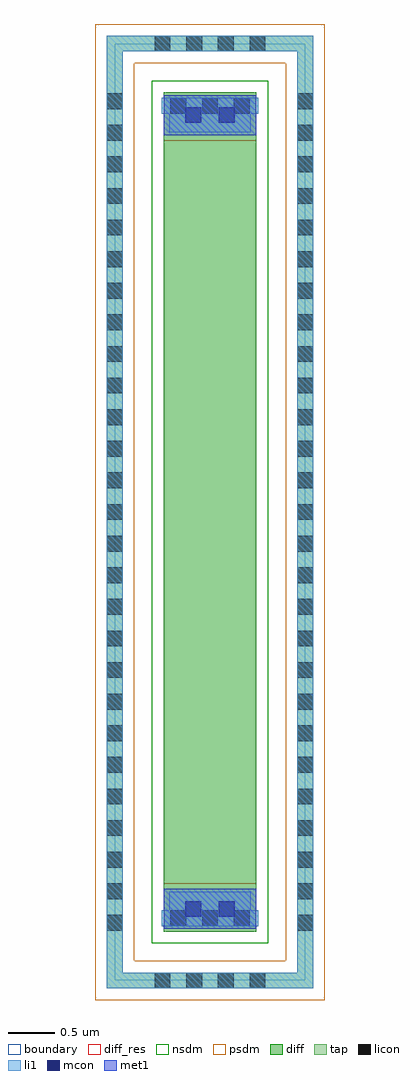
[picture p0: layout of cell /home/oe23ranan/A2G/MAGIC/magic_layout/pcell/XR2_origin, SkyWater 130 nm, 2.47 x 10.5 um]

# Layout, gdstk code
import gdstk
lib = gdstk.Library(unit=1e-6, precision=1e-09)
def R(c, l, rs):  # rectangles x0, y0, x1, y1
    for r in rs: c.add(gdstk.rectangle(r[:2], r[2:], *l))
def A(c, l, x, y, w, h, nx, ny, dx, dy):  # array of equal rectangles
    R(c, l, [(x+i*dx, y+j*dy, x+i*dx+w, y+j*dy+h) for i in range(nx) for j in range(ny)])
diff_res = (65, 13)
diff = (65, 20)
tap = (65, 44)
licon = (66, 44)
li1 = (67, 20)
mcon = (67, 44)
met1 = (68, 20)
nsdm = (93, 44)
psdm = (94, 20)
boundary = (235, 4)

c__home_oe23ranan_a2g_magi = lib.new_cell('/home/oe23ranan/A2G/MAGIC/magic_layout/pcell/XR2_origin')
R(c__home_oe23ranan_a2g_magi, diff_res, [(-0.5,-4,0.5,4)])
R(c__home_oe23ranan_a2g_magi, diff, [(-0.5,-4.515,0.5,4.515)])
R(c__home_oe23ranan_a2g_magi, tap, [(-1.11,-5.125,1.11,-4.955), (-1.11,-4.955,-0.94,4.955), (0.94,-4.955,1.11,4.955), (-1.11,4.955,1.11,5.125)])
A(c__home_oe23ranan_a2g_magi, licon, -0.595, -5.125, 0.17, 0.17, 4, 2, 0.34, 10.08)
A(c__home_oe23ranan_a2g_magi, licon, -1.11, -4.505, 0.17, 0.17, 1, 27, 0, 0.34)
A(c__home_oe23ranan_a2g_magi, licon, 0.94, -4.505, 0.17, 0.17, 1, 27, 0, 0.34)
A(c__home_oe23ranan_a2g_magi, licon, -0.425, -4.455, 0.17, 0.17, 3, 2, 0.34, 8.74)
R(c__home_oe23ranan_a2g_magi, li1, [(-1.11,-5.125,1.11,-4.955), (-1.11,-4.955,-0.94,4.955), (0.94,-4.955,1.11,4.955), (-0.52,-4.455,0.52,-4.285), (-0.44,-4.285,0.44,-4.085), (-0.44,4.085,0.44,4.285), (-0.52,4.285,0.52,4.455), (-1.11,4.955,1.11,5.125)])
R(c__home_oe23ranan_a2g_magi, mcon, [(-0.265,-4.355,-0.095,-4.185), (0.095,-4.355,0.265,-4.185), (-0.265,4.185,-0.095,4.355), (0.095,4.185,0.265,4.355)])
R(c__home_oe23ranan_a2g_magi, met1, [(-0.5,-4.485,0.5,-4.055), (-0.5,4.055,0.5,4.485)])
R(c__home_oe23ranan_a2g_magi, nsdm, [(-0.625,-4.64,0.625,4.64)])
R(c__home_oe23ranan_a2g_magi, psdm, [(-1.235,-5.25,1.235,-4.83), (-1.235,-4.83,-0.815,4.83), (0.815,-4.83,1.235,4.83), (-1.235,4.83,1.235,5.25)])
R(c__home_oe23ranan_a2g_magi, boundary, [(-1.025,-5.04,1.025,5.04)])

lib.write_gds('_home_oe23ranan_A2G_MAGIC_magic_layout_pcell_XR2_origin.gds')
